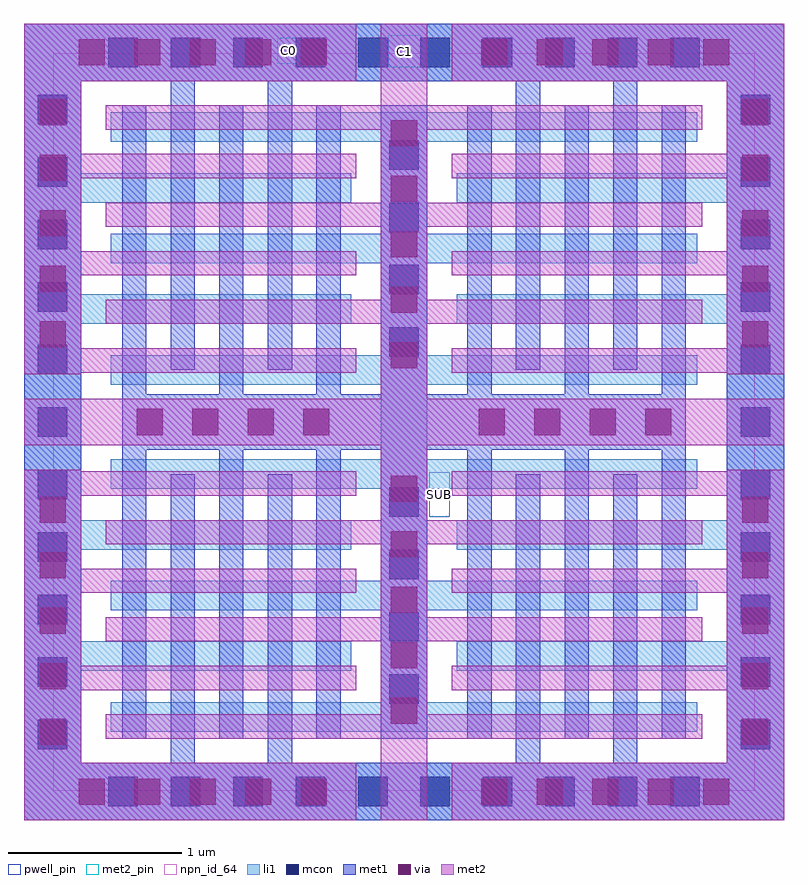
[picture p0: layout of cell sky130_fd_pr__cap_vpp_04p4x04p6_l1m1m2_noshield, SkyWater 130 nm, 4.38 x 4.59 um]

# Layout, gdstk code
import gdstk
lib = gdstk.Library(unit=1e-6, precision=1e-09)
def R(c, l, rs):  # rectangles x0, y0, x1, y1
    for r in rs: c.add(gdstk.rectangle(r[:2], r[2:], *l))
def A(c, l, x, y, w, h, nx, ny, dx, dy):  # array of equal rectangles
    R(c, l, [(x+i*dx, y+j*dy, x+i*dx+w, y+j*dy+h) for i in range(nx) for j in range(ny)])
def P(c, l, *ps):  # polygons
    for p in ps: c.add(gdstk.Polygon(p, *l))
li1 = (67, 20)
mcon = (67, 44)
met1 = (68, 20)
via = (68, 44)
met2_pin = (69, 16)
met2 = (69, 20)
npn_id_64 = (82, 64)
pwell_pin = (122, 16)

sky130_fd_pr__cap_vpp_04 = lib.new_cell('sky130_fd_pr__cap_vpp_04p4x04p6_l1m1m2_noshield')
P(sky130_fd_pr__cap_vpp_04, li1, [(4.38,4.59),(4.05,4.59),(4.05,3.73),(2.495,3.73),(2.495,3.56),(4.05,3.56),(4.05,3.03),(2.495,3.03),(2.495,2.86),(4.05,2.86),(4.05,1.73),(2.495,1.73),(2.495,1.56),(4.05,1.56),(4.05,1.03),(2.495,1.03),(2.495,0.86),(4.05,0.86),(4.05,0.33),(0.33,0.33),(0.33,0.86),(1.885,0.86),(1.885,1.03),(0.33,1.03),(0.33,1.56),(1.885,1.56),(1.885,1.73),(0.33,1.73),(0.33,2.86),(1.885,2.86),(1.885,3.03),(0.33,3.03),(0.33,3.56),(1.885,3.56),(1.885,3.73),(0.33,3.73),(0.33,4.26),(4.05,4.26),(4.05,4.59),(0,4.59),(0,0),(4.38,0)],
  [(3.88,0.68),(2.325,0.68),(2.325,1.21),(3.88,1.21),(3.88,1.38),(2.325,1.38),(2.325,1.91),(3.88,1.91),(3.88,2.08),(2.325,2.08),(2.325,2.51),(3.88,2.51),(3.88,2.68),(2.325,2.68),(2.325,3.21),(3.88,3.21),(3.88,3.38),(2.325,3.38),(2.325,3.91),(3.88,3.91),(3.88,4.08),(0.5,4.08),(0.5,3.91),(2.055,3.91),(2.055,3.38),(0.5,3.38),(0.5,3.21),(2.055,3.21),(2.055,2.68),(0.5,2.68),(0.5,2.51),(2.055,2.51),(2.055,2.08),(0.5,2.08),(0.5,1.91),(2.055,1.91),(2.055,1.38),(0.5,1.38),(0.5,1.21),(2.055,1.21),(2.055,0.68),(0.5,0.68),(0.5,0.51),(3.88,0.51)])
A(sky130_fd_pr__cap_vpp_04, mcon, 0.485, 0.08, 0.17, 0.17, 10, 2, 0.36, 4.26)
A(sky130_fd_pr__cap_vpp_04, mcon, 0.08, 0.41, 0.17, 0.17, 1, 11, 0, 0.36)
A(sky130_fd_pr__cap_vpp_04, mcon, 4.13, 0.41, 0.17, 0.17, 1, 11, 0, 0.36)
A(sky130_fd_pr__cap_vpp_04, mcon, 2.105, 0.67, 0.17, 0.17, 1, 4, 0, 0.36)
A(sky130_fd_pr__cap_vpp_04, mcon, 2.105, 2.67, 0.17, 0.17, 1, 4, 0, 0.36)
P(sky130_fd_pr__cap_vpp_04, met1, [(4.38,4.59),(4.05,4.59),(4.05,0.33),(3.535,0.33),(3.535,1.995),(3.395,1.995),(3.395,0.33),(2.975,0.33),(2.975,1.995),(2.835,1.995),(2.835,0.33),(1.545,0.33),(1.545,1.995),(1.405,1.995),(1.405,0.33),(0.985,0.33),(0.985,1.995),(0.845,1.995),(0.845,0.33),(0.33,0.33),(0.33,4.26),(0.845,4.26),(0.845,2.595),(0.985,2.595),(0.985,4.26),(1.405,4.26),(1.405,2.595),(1.545,2.595),(1.545,4.26),(2.835,4.26),(2.835,2.595),(2.975,2.595),(2.975,4.26),(3.395,4.26),(3.395,2.595),(3.535,2.595),(3.535,4.26),(4.05,4.26),(4.05,4.59),(0,4.59),(0,0),(4.38,0)],
  [(3.815,4.12),(3.675,4.12),(3.675,2.455),(3.255,2.455),(3.255,4.12),(3.115,4.12),(3.115,2.455),(2.695,2.455),(2.695,4.12),(2.555,4.12),(2.555,2.455),(2.325,2.455),(2.325,4.12),(2.055,4.12),(2.055,2.455),(1.825,2.455),(1.825,4.12),(1.685,4.12),(1.685,2.455),(1.265,2.455),(1.265,4.12),(1.125,4.12),(1.125,2.455),(0.705,2.455),(0.705,4.12),(0.565,4.12),(0.565,0.47),(0.705,0.47),(0.705,2.135),(1.125,2.135),(1.125,0.47),(1.265,0.47),(1.265,2.135),(1.685,2.135),(1.685,0.47),(1.825,0.47),(1.825,2.135),(2.055,2.135),(2.055,0.47),(2.325,0.47),(2.325,2.135),(2.555,2.135),(2.555,0.47),(2.695,0.47),(2.695,2.135),(3.115,2.135),(3.115,0.47),(3.255,0.47),(3.255,2.135),(3.675,2.135),(3.675,0.47),(3.815,0.47)])
A(sky130_fd_pr__cap_vpp_04, via, 0.09, 0.435, 0.15, 0.15, 1, 5, 0, 0.32)
A(sky130_fd_pr__cap_vpp_04, via, 4.14, 0.435, 0.15, 0.15, 1, 5, 0, 0.32)
A(sky130_fd_pr__cap_vpp_04, via, 2.115, 0.555, 0.15, 0.15, 1, 5, 0, 0.32)
A(sky130_fd_pr__cap_vpp_04, via, 0.65, 2.22, 0.15, 0.15, 4, 1, 0.32, 0)
A(sky130_fd_pr__cap_vpp_04, via, 2.62, 2.22, 0.15, 0.15, 4, 1, 0.32, 0)
A(sky130_fd_pr__cap_vpp_04, via, 2.115, 2.605, 0.15, 0.15, 1, 5, 0, 0.32)
A(sky130_fd_pr__cap_vpp_04, via, 0.09, 2.725, 0.15, 0.15, 1, 5, 0, 0.32)
A(sky130_fd_pr__cap_vpp_04, via, 4.14, 2.725, 0.15, 0.15, 1, 5, 0, 0.32)
R(sky130_fd_pr__cap_vpp_04, via, [(0.315,0.09,0.465,0.24), (0.315,0.09,0.465,0.24), (0.635,0.09,0.785,0.24), (0.635,0.09,0.785,0.24), (0.955,0.09,1.105,0.24), (0.955,0.09,1.105,0.24), (1.275,0.09,1.425,0.24), (1.275,0.09,1.425,0.24), (1.595,0.09,1.745,0.24), (1.595,0.09,1.745,0.24), (2.635,0.09,2.785,0.24), (2.635,0.09,2.785,0.24), (2.955,0.09,3.105,0.24), (2.955,0.09,3.105,0.24), (3.275,0.09,3.425,0.24), (3.275,0.09,3.425,0.24), (3.595,0.09,3.745,0.24), (3.595,0.09,3.745,0.24), (3.915,0.09,4.065,0.24), (3.915,0.09,4.065,0.24), (0.315,4.35,0.465,4.5), (0.315,4.35,0.465,4.5), (0.635,4.35,0.785,4.5), (0.635,4.35,0.785,4.5), (0.955,4.35,1.105,4.5), (0.955,4.35,1.105,4.5), (1.275,4.35,1.425,4.5), (1.275,4.35,1.425,4.5), (1.595,4.35,1.745,4.5), (1.595,4.35,1.745,4.5), (2.635,4.35,2.785,4.5), (2.635,4.35,2.785,4.5), (2.955,4.35,3.105,4.5), (2.955,4.35,3.105,4.5), (3.275,4.35,3.425,4.5), (3.275,4.35,3.425,4.5), (3.595,4.35,3.745,4.5), (3.595,4.35,3.745,4.5), (3.915,4.35,4.065,4.5), (3.915,4.35,4.065,4.5)])
R(sky130_fd_pr__cap_vpp_04, met2_pin, [(2.1,4.34,2.29,4.525), (1.46,4.36,1.59,4.51)])
P(sky130_fd_pr__cap_vpp_04, met2, [(1.915,2.72),(0.33,2.72),(0.33,3.14),(1.915,3.14),(1.915,3.28),(0.33,3.28),(0.33,3.7),(1.915,3.7),(1.915,3.84),(0.33,3.84),(0.33,4.26),(1.915,4.26),(1.915,4.59),(0,4.59),(0,2.57),(0.33,2.57),(0.33,2.58),(1.915,2.58)],
  [(4.38,2.43),(2.325,2.43),(2.325,2.86),(3.91,2.86),(3.91,3),(2.325,3),(2.325,3.42),(3.91,3.42),(3.91,3.56),(2.325,3.56),(2.325,3.98),(3.91,3.98),(3.91,4.12),(2.325,4.12),(2.325,4.59),(2.055,4.59),(2.055,4.12),(0.47,4.12),(0.47,3.98),(2.055,3.98),(2.055,3.56),(0.47,3.56),(0.47,3.42),(2.055,3.42),(2.055,3),(0.47,3),(0.47,2.86),(2.055,2.86),(2.055,2.43),(0,2.43),(0,2.16),(2.055,2.16),(2.055,1.73),(0.47,1.73),(0.47,1.59),(2.055,1.59),(2.055,1.17),(0.47,1.17),(0.47,1.03),(2.055,1.03),(2.055,0.61),(0.47,0.61),(0.47,0.47),(2.055,0.47),(2.055,0),(2.325,0),(2.325,0.47),(3.91,0.47),(3.91,0.61),(2.325,0.61),(2.325,1.03),(3.91,1.03),(3.91,1.17),(2.325,1.17),(2.325,1.59),(3.91,1.59),(3.91,1.73),(2.325,1.73),(2.325,2.16),(4.38,2.16)],
  [(4.38,2.02),(4.05,2.02),(4.05,2.01),(2.465,2.01),(2.465,1.87),(4.05,1.87),(4.05,1.45),(2.465,1.45),(2.465,1.31),(4.05,1.31),(4.05,0.89),(2.465,0.89),(2.465,0.75),(4.05,0.75),(4.05,0.33),(2.465,0.33),(2.465,0),(4.38,0)],
  [(4.38,4.59),(2.465,4.59),(2.465,4.26),(4.05,4.26),(4.05,3.84),(2.465,3.84),(2.465,3.7),(4.05,3.7),(4.05,3.28),(2.465,3.28),(2.465,3.14),(4.05,3.14),(4.05,2.72),(2.465,2.72),(2.465,2.58),(4.05,2.58),(4.05,2.57),(4.38,2.57)],
  [(1.915,0.33),(0.33,0.33),(0.33,0.75),(1.915,0.75),(1.915,0.89),(0.33,0.89),(0.33,1.31),(1.915,1.31),(1.915,1.45),(0.33,1.45),(0.33,1.87),(1.915,1.87),(1.915,2.01),(0.33,2.01),(0.33,2.02),(0,2.02),(0,0),(1.915,0)])
R(sky130_fd_pr__cap_vpp_04, npn_id_64, [(0.17,0.17,4.21,4.42)])
R(sky130_fd_pr__cap_vpp_04, pwell_pin, [(2.335,1.75,2.455,2.005)])
sky130_fd_pr__cap_vpp_04.add(gdstk.Label('C0', (1.525,4.435), layer=69, texttype=5))
sky130_fd_pr__cap_vpp_04.add(gdstk.Label('C1', (2.195,4.43), layer=69, texttype=5))
sky130_fd_pr__cap_vpp_04.add(gdstk.Label('SUB', (2.395,1.875), layer=64, texttype=59))

lib.write_gds('sky130_fd_pr__cap_vpp_04p4x04p6_l1m1m2_noshield.gds')
